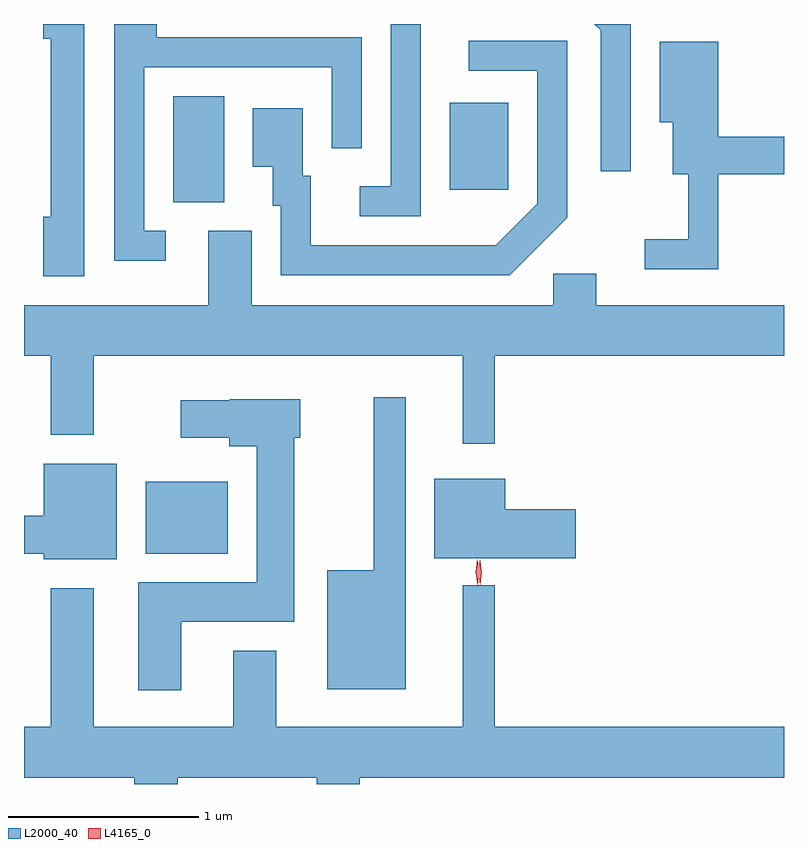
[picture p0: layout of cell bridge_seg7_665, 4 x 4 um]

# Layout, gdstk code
import gdstk
lib = gdstk.Library(unit=1e-6, precision=1e-09)
def R(c, l, rs):  # rectangles x0, y0, x1, y1
    for r in rs: c.add(gdstk.rectangle(r[:2], r[2:], *l))
def P(c, l, *ps):  # polygons
    for p in ps: c.add(gdstk.Polygon(p, *l))
L2000_40 = (2000, 40)
L4165_0 = (4165, 0)

bridge_seg7_665 = lib.new_cell('bridge_seg7_665')
R(bridge_seg7_665, L2000_40, [(964.331,1679.976,964.764,1680.354), (964.476,1681.826,964.744,1682.384), (965.931,1681.891,966.239,1682.349)])
P(bridge_seg7_665, L2000_40, [(964.438,1681.674),(964.324,1681.674),(964.324,1682.536),(965.311,1682.536),(965.311,1682.108),(965.469,1682.108),(965.469,1682.694),(964.389,1682.694),(964.389,1682.763),(964.166,1682.763),(964.166,1681.516),(964.438,1681.516)],
  [(966.884,1682.763),(966.692,1682.763),(966.726,1682.729),(966.726,1681.988),(966.884,1681.988)],
  [(965.779,1682.763),(965.621,1682.763),(965.621,1681.909),(965.458,1681.909),(965.458,1681.751),(965.779,1681.751)],
  [(964.009,1682.763),(963.791,1682.763),(963.791,1682.686),(963.831,1682.686),(963.831,1681.749),(963.791,1681.749),(963.791,1681.436),(964.009,1681.436)],
  [(966.549,1681.744),(966.549,1682.674),(966.033,1682.674),(966.033,1682.516),(966.391,1682.516),(966.391,1681.817),(966.174,1681.599),(965.199,1681.599),(965.199,1681.964),(965.159,1681.964),(965.159,1682.319),(964.896,1682.319),(964.896,1682.011),(965.001,1682.011),(965.001,1681.806),(965.041,1681.806),(965.041,1681.441),(966.247,1681.441)],
  [(967.344,1681.971),(967.691,1681.971),(967.691,1682.169),(967.344,1682.169),(967.344,1682.669),(967.036,1682.669),(967.036,1682.246),(967.106,1682.246),(967.106,1681.971),(967.186,1681.971),(967.186,1681.629),(966.958,1681.629),(966.958,1681.471),(967.344,1681.471)],
  [(966.169,1681.016),(967.691,1681.016),(967.691,1681.284),(966.704,1681.284),(966.704,1681.449),(966.476,1681.449),(966.476,1681.284),(964.889,1681.284),(964.889,1681.674),(964.661,1681.674),(964.661,1681.284),(963.691,1681.284),(963.691,1681.016),(963.831,1681.016),(963.831,1680.601),(964.059,1680.601),(964.059,1681.016),(966.001,1681.016),(966.001,1680.553),(966.169,1680.553)],
  [(965.699,1680.798),(965.531,1680.798),(965.531,1679.889),(965.286,1679.889),(965.286,1679.261),(965.699,1679.261)],
  [(964.519,1679.616),(965.114,1679.616),(965.114,1680.586),(965.144,1680.586),(965.144,1680.789),(964.775,1680.789),(964.775,1680.784),(964.516,1680.784),(964.516,1680.586),(964.771,1680.586),(964.771,1680.541),(964.916,1680.541),(964.916,1679.824),(964.291,1679.824),(964.291,1679.256),(964.519,1679.256)],
  [(964.179,1680.449),(963.796,1680.449),(963.796,1680.174),(963.691,1680.174),(963.691,1679.976),(963.796,1679.976),(963.796,1679.946),(964.179,1679.946)],
  [(966.594,1680.209),(966.224,1680.209),(966.224,1680.369),(965.851,1680.369),(965.851,1679.951),(966.594,1679.951)],
  [(964.499,1678.796),(965.231,1678.796),(965.231,1678.763),(965.459,1678.763),(965.459,1678.796),(967.691,1678.796),(967.691,1679.064),(966.169,1679.064),(966.169,1679.808),(966.001,1679.808),(966.001,1679.064),(965.019,1679.064),(965.019,1679.464),(964.791,1679.464),(964.791,1679.064),(964.059,1679.064),(964.059,1679.794),(963.831,1679.794),(963.831,1679.064),(963.691,1679.064),(963.691,1678.796),(964.271,1678.796),(964.271,1678.763),(964.499,1678.763)])
P(bridge_seg7_665, L4165_0, [(966.078,1679.809),(966.078,1679.81),(966.068,1679.877),(966.076,1679.945),(966.077,1679.946),(966.077,1679.945),(966.087,1679.878),(966.079,1679.81)],
  [(966.091,1679.813),(966.091,1679.813),(966.081,1679.876),(966.09,1679.939),(966.091,1679.94),(966.091,1679.939),(966.101,1679.876),(966.092,1679.813)])

lib.write_gds('bridge_seg7_665.gds')
